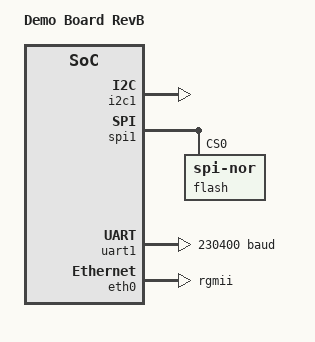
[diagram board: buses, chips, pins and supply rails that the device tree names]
/ {
    model = "Demo Board RevB";
};

&i2c1 {
    status = "okay";
};

&spi1 {
    status = "okay";
    flash@0 {
        compatible = "jedec,spi-nor";
        reg = <0>;
    };
};

&uart1 {
    status = "okay";
    current-speed = <230400>;
};

&eth0 {
    status = "okay";
    phy-mode = "rgmii";
};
